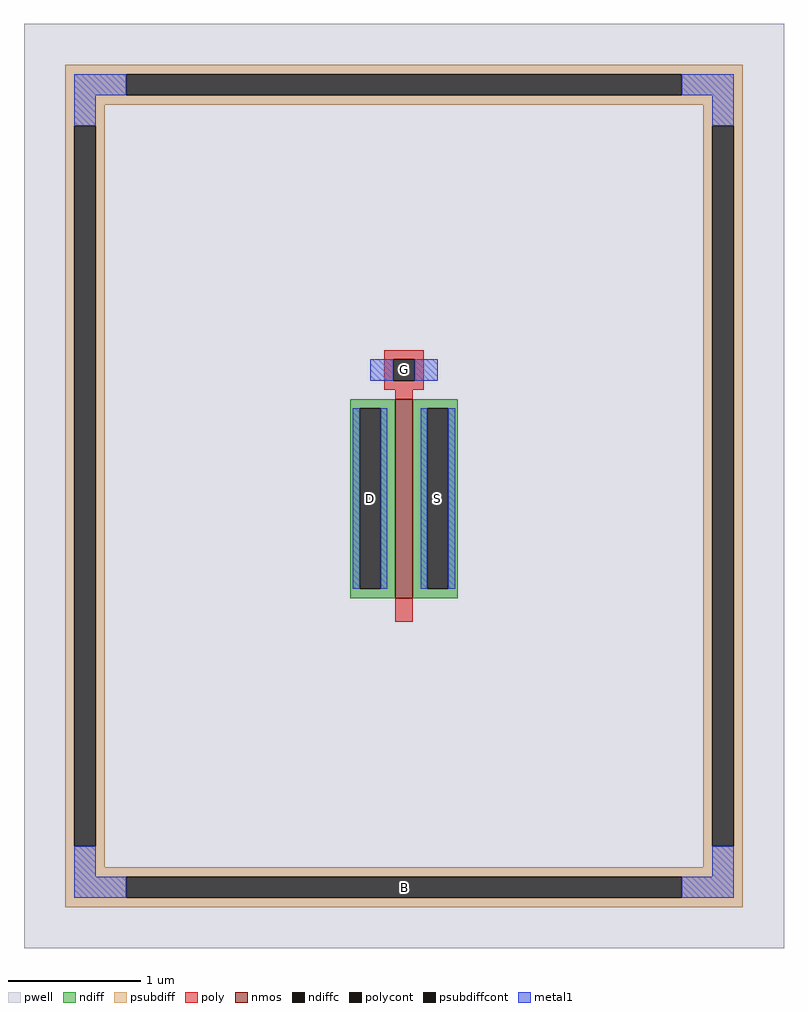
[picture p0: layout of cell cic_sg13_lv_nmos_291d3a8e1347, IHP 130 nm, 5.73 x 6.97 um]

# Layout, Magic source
magic
tech ihp-sg13cmos5l
magscale 1 2
<< pwell >>
rect -573 -697 573 697
<< nmos >>
rect -13 -169 13 131
<< ndiff >>
rect -81 117 -13 131
rect -81 -155 -67 117
rect -35 -155 -13 117
rect -81 -169 -13 -155
rect 13 117 81 131
rect 13 -155 35 117
rect 67 -155 81 117
rect 13 -169 81 -155
<< ndiffc >>
rect -67 -155 -35 117
rect 35 -155 67 117
<< psubdiff >>
rect -511 621 511 635
rect -511 589 -419 621
rect 419 589 511 621
rect -511 575 511 589
rect -511 543 -451 575
rect -511 -543 -497 543
rect -465 -543 -451 543
rect 451 543 511 575
rect -511 -575 -451 -543
rect 451 -543 465 543
rect 497 -543 511 543
rect 451 -575 511 -543
rect -511 -589 511 -575
rect -511 -621 -419 -589
rect 419 -621 511 -589
rect -511 -635 511 -621
<< psubdiffcont >>
rect -419 589 419 621
rect -497 -543 -465 543
rect 465 -543 497 543
rect -419 -621 419 -589
<< poly >>
rect -30 191 30 205
rect -30 159 -16 191
rect 16 159 30 191
rect -30 145 30 159
rect -13 131 13 145
rect -13 -205 13 -169
<< polycont >>
rect -16 159 16 191
<< metal1 >>
rect -497 589 -419 621
rect 419 589 497 621
rect -497 543 -465 589
rect 465 543 497 589
rect -51 159 -16 191
rect 16 159 51 191
rect -77 -155 -67 117
rect -35 -155 -25 117
rect 25 -155 35 117
rect 67 -155 77 117
rect -497 -589 -465 -543
rect 465 -589 497 -543
rect -497 -621 -419 -589
rect 419 -621 497 -589
<< labels >>
rlabel psubdiffcont 0 -605 0 -605 0 B
port 1 nsew
rlabel ndiffc -51 -19 -51 -19 0 D
port 2 nsew
rlabel ndiffc 51 -19 51 -19 0 S
port 3 nsew
rlabel polycont 0 175 0 175 0 G
port 4 nsew
<< properties >>
string FIXED_BBOX -481 -605 481 605
string gencell sg13_lv_nmos
string library sg13cmos5l
string parameters w 1.5 l 0.13 m 1 ng 1 diffcov 100 polycov 100 guard 1 glc 1 grc 1 gtc 1 gbc 1 tbcov 100 rlcov 100 topc 1 botc 0 poverlap 0 doverlap 1 lmin 0.13 wmin 0.15 class mosfet compatible {sg13_lv_nmos sg13_hv_nmos} full_metal 1 conn_gates 1 gate_ring 0 doports 1 viasrc 0 viadrn 0 viagate 0 ccols 1 viagb 0 viagr 0 viagl 0 viagt 0 set_x_to_guard 2.0 set_y_to_guard 2.0
<< end >>
